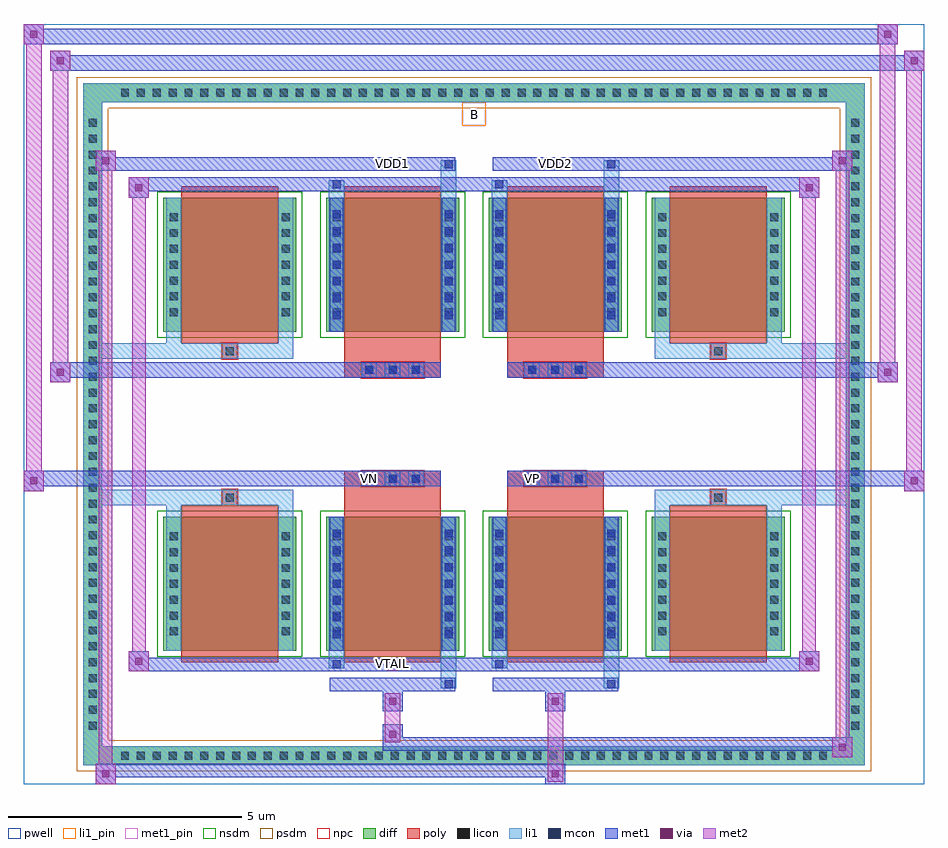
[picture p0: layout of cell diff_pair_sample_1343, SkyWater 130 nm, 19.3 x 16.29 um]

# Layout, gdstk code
import gdstk
lib = gdstk.Library(unit=1e-6, precision=5e-09)
def R(c, l, rs):  # rectangles x0, y0, x1, y1
    for r in rs: c.add(gdstk.rectangle(r[:2], r[2:], *l))
def A(c, l, x, y, w, h, nx, ny, dx, dy):  # array of equal rectangles
    R(c, l, [(x+i*dx, y+j*dy, x+i*dx+w, y+j*dy+h) for i in range(nx) for j in range(ny)])
def P(c, l, *ps):  # polygons
    for p in ps: c.add(gdstk.Polygon(p, *l))
pwell = (64, 44)
diff = (65, 20)
poly = (66, 20)
licon = (66, 44)
li1_pin = (67, 16)
li1 = (67, 20)
mcon = (67, 44)
met1_pin = (68, 16)
met1 = (68, 20)
via = (68, 44)
met2 = (69, 20)
nsdm = (93, 44)
psdm = (94, 20)
npc = (95, 20)

diff_pair_sample_1343 = lib.new_cell('diff_pair_sample_1343')
R(diff_pair_sample_1343, pwell, [(-9.65,-7.71,9.65,8.58), (-6.97,-5.9,-0.01,-0.8), (0.01,-5.9,6.97,-0.8), (-6.97,0.8,-0.01,5.9), (0.01,0.8,6.97,5.9)])
A(diff_pair_sample_1343, diff, -7.685, -7.31, 0.41, 0.41, 45, 2, 0.34, 14.21)
A(diff_pair_sample_1343, diff, -8.38, -6.665, 0.41, 0.41, 1, 39, 0, 0.34)
A(diff_pair_sample_1343, diff, 7.97, -6.665, 0.41, 0.41, 1, 39, 0, 0.34)
A(diff_pair_sample_1343, diff, -6.66, -4.855, 2.85, 2.87, 4, 2, 3.49, 6.84)
R(diff_pair_sample_1343, diff, [(-7.685,-7.31,7.685,-6.9), (-8.38,-6.665,-7.97,6.665), (7.97,-6.665,8.38,6.665), (-7.685,6.9,7.685,7.31)])
P(diff_pair_sample_1343, diff, [(8.38,7.31),(-8.38,7.31),(-8.38,-6.9),(-7.97,-6.9),(-7.97,6.9),(7.97,6.9),(7.97,-6.9),(-7.97,-6.9),(-8.38,-6.9),(-8.38,-7.31),(8.38,-7.31)])
A(diff_pair_sample_1343, poly, -6.27, -5.105, 2.07, 3.37, 4, 2, 3.49, 6.84)
A(diff_pair_sample_1343, poly, -2.41, -1.33, 0.33, 0.33, 3, 2, 0.5, 2.33)
A(diff_pair_sample_1343, poly, 1.08, -1.33, 0.33, 0.33, 3, 2, 0.5, 2.33)
R(diff_pair_sample_1343, poly, [(-5.4,-1.735,-5.07,-1.405), (-5.4,-1.735,-5.07,-1.405), (-2.78,-1.735,-0.71,-1.33), (0.71,-1.735,2.78,-1.33), (5.07,-1.735,5.4,-1.405), (5.07,-1.735,5.4,-1.405), (-2.78,-1.33,-0.71,-1), (0.71,-1.33,2.78,-1), (-2.78,1,-0.71,1.33), (0.71,1,2.78,1.33), (-2.78,1.33,-0.71,1.735), (0.71,1.33,2.78,1.735), (-5.4,1.405,-5.07,1.735), (-5.4,1.405,-5.07,1.735), (5.07,1.405,5.4,1.735), (5.07,1.405,5.4,1.735)])
A(diff_pair_sample_1343, licon, -7.565, -7.19, 0.17, 0.17, 45, 2, 0.34, 14.21)
A(diff_pair_sample_1343, licon, -8.26, -6.545, 0.17, 0.17, 1, 39, 0, 0.34)
A(diff_pair_sample_1343, licon, 8.09, -6.545, 0.17, 0.17, 1, 39, 0, 0.34)
A(diff_pair_sample_1343, licon, -6.52, -4.525, 0.17, 0.17, 1, 7, 0, 0.34)
A(diff_pair_sample_1343, licon, -4.12, -4.525, 0.17, 0.17, 1, 7, 0, 0.34)
A(diff_pair_sample_1343, licon, -3.03, -4.525, 0.17, 0.17, 1, 7, 0, 0.34)
A(diff_pair_sample_1343, licon, -0.63, -4.525, 0.17, 0.17, 1, 7, 0, 0.34)
A(diff_pair_sample_1343, licon, 0.46, -4.525, 0.17, 0.17, 1, 7, 0, 0.34)
A(diff_pair_sample_1343, licon, 2.86, -4.525, 0.17, 0.17, 1, 7, 0, 0.34)
A(diff_pair_sample_1343, licon, 3.95, -4.525, 0.17, 0.17, 1, 7, 0, 0.34)
A(diff_pair_sample_1343, licon, 6.35, -4.525, 0.17, 0.17, 1, 7, 0, 0.34)
A(diff_pair_sample_1343, licon, -2.33, -1.25, 0.17, 0.17, 3, 2, 0.5, 2.33)
A(diff_pair_sample_1343, licon, 1.16, -1.25, 0.17, 0.17, 3, 2, 0.5, 2.33)
A(diff_pair_sample_1343, licon, -6.52, 2.315, 0.17, 0.17, 1, 7, 0, 0.34)
A(diff_pair_sample_1343, licon, -4.12, 2.315, 0.17, 0.17, 1, 7, 0, 0.34)
A(diff_pair_sample_1343, licon, -3.03, 2.315, 0.17, 0.17, 1, 7, 0, 0.34)
A(diff_pair_sample_1343, licon, -0.63, 2.315, 0.17, 0.17, 1, 7, 0, 0.34)
A(diff_pair_sample_1343, licon, 0.46, 2.315, 0.17, 0.17, 1, 7, 0, 0.34)
A(diff_pair_sample_1343, licon, 2.86, 2.315, 0.17, 0.17, 1, 7, 0, 0.34)
A(diff_pair_sample_1343, licon, 3.95, 2.315, 0.17, 0.17, 1, 7, 0, 0.34)
A(diff_pair_sample_1343, licon, 6.35, 2.315, 0.17, 0.17, 1, 7, 0, 0.34)
R(diff_pair_sample_1343, licon, [(-5.32,-1.655,-5.15,-1.485), (5.15,-1.655,5.32,-1.485), (-5.32,1.485,-5.15,1.655), (5.15,1.485,5.32,1.655)])
R(diff_pair_sample_1343, li1_pin, [(-0.25,6.4,0.25,6.9)])
A(diff_pair_sample_1343, li1, -7.645, -7.27, 0.33, 0.33, 45, 2, 0.34, 14.21)
A(diff_pair_sample_1343, li1, -8.34, -6.625, 0.33, 0.33, 1, 39, 0, 0.34)
A(diff_pair_sample_1343, li1, 8.01, -6.625, 0.33, 0.33, 1, 39, 0, 0.34)
A(diff_pair_sample_1343, li1, -6.6, -4.605, 0.33, 0.33, 1, 7, 0, 0.34)
A(diff_pair_sample_1343, li1, -4.2, -4.605, 0.33, 0.33, 1, 7, 0, 0.34)
A(diff_pair_sample_1343, li1, -3.11, -4.605, 0.33, 0.33, 1, 7, 0, 0.34)
A(diff_pair_sample_1343, li1, -0.71, -4.605, 0.33, 0.33, 1, 7, 0, 0.34)
A(diff_pair_sample_1343, li1, 0.38, -4.605, 0.33, 0.33, 1, 7, 0, 0.34)
A(diff_pair_sample_1343, li1, 2.78, -4.605, 0.33, 0.33, 1, 7, 0, 0.34)
A(diff_pair_sample_1343, li1, 3.87, -4.605, 0.33, 0.33, 1, 7, 0, 0.34)
A(diff_pair_sample_1343, li1, 6.27, -4.605, 0.33, 0.33, 1, 7, 0, 0.34)
A(diff_pair_sample_1343, li1, -3.03, -4.585, 0.17, 0.17, 1, 7, 0, 0.36)
A(diff_pair_sample_1343, li1, -0.63, -4.585, 0.17, 0.17, 1, 7, 0, 0.36)
A(diff_pair_sample_1343, li1, 0.46, -4.585, 0.17, 0.17, 1, 7, 0, 0.36)
A(diff_pair_sample_1343, li1, 2.86, -4.585, 0.17, 0.17, 1, 7, 0, 0.36)
A(diff_pair_sample_1343, li1, -2.41, -1.33, 0.33, 0.33, 3, 2, 0.5, 2.33)
A(diff_pair_sample_1343, li1, 1.08, -1.33, 0.33, 0.33, 3, 2, 0.5, 2.33)
A(diff_pair_sample_1343, li1, -6.6, 2.235, 0.33, 0.33, 1, 7, 0, 0.34)
A(diff_pair_sample_1343, li1, -4.2, 2.235, 0.33, 0.33, 1, 7, 0, 0.34)
A(diff_pair_sample_1343, li1, -3.11, 2.235, 0.33, 0.33, 1, 7, 0, 0.34)
A(diff_pair_sample_1343, li1, -0.71, 2.235, 0.33, 0.33, 1, 7, 0, 0.34)
A(diff_pair_sample_1343, li1, 0.38, 2.235, 0.33, 0.33, 1, 7, 0, 0.34)
A(diff_pair_sample_1343, li1, 2.78, 2.235, 0.33, 0.33, 1, 7, 0, 0.34)
A(diff_pair_sample_1343, li1, 3.87, 2.235, 0.33, 0.33, 1, 7, 0, 0.34)
A(diff_pair_sample_1343, li1, 6.27, 2.235, 0.33, 0.33, 1, 7, 0, 0.34)
A(diff_pair_sample_1343, li1, -3.03, 2.255, 0.17, 0.17, 1, 7, 0, 0.36)
A(diff_pair_sample_1343, li1, -0.63, 2.255, 0.17, 0.17, 1, 7, 0, 0.36)
A(diff_pair_sample_1343, li1, 0.46, 2.255, 0.17, 0.17, 1, 7, 0, 0.36)
A(diff_pair_sample_1343, li1, 2.86, 2.255, 0.17, 0.17, 1, 7, 0, 0.36)
R(diff_pair_sample_1343, li1, [(-8.38,-7.31,-7.97,-6.9), (-8.38,-7.31,-7.97,-6.9), (-7.97,-7.31,7.97,-6.9), (7.97,-7.31,8.38,-6.9), (7.97,-7.31,8.38,-6.9), (-8.38,-6.9,-7.97,6.9), (7.97,-6.9,8.38,6.9), (-0.71,-5.66,-0.38,-4.855), (-0.63,-5.66,-0.46,-5.49), (2.78,-5.66,3.11,-4.855), (2.86,-5.66,3.03,-5.49), (-3.11,-5.23,-2.78,-4.855), (-3.03,-5.23,-2.86,-5.06), (0.38,-5.23,0.71,-4.855), (0.46,-5.23,0.63,-5.06), (-6.6,-4.855,-6.27,-1.985), (-4.2,-4.855,-3.87,-1.985), (-3.11,-4.855,-2.78,-1.985), (-0.71,-4.855,-0.38,-1.985), (0.38,-4.855,0.71,-1.985), (2.78,-4.855,3.11,-1.985), (3.87,-4.855,4.2,-1.985), (6.27,-4.855,6.6,-1.985), (-3.03,-4.585,-2.86,-2.255), (-0.63,-4.585,-0.46,-2.255), (0.46,-4.585,0.63,-2.255), (2.86,-4.585,3.03,-2.255), (-6.6,-1.985,-6.27,-1.405), (-4.2,-1.985,-3.87,-1.405), (3.87,-1.985,4.2,-1.405), (6.27,-1.985,6.6,-1.405), (-8.38,-1.735,-5.4,-1.405), (-6.6,-1.735,-5.4,-1.405), (-5.4,-1.735,-5.07,-1.405), (-5.07,-1.735,-3.87,-1.405), (3.87,-1.735,5.07,-1.405), (5.07,-1.735,5.4,-1.405), (5.07,-1.735,8.38,-1.405), (5.4,-1.735,6.6,-1.405), (-8.38,1.405,-5.4,1.735), (-6.6,1.405,-5.4,1.735), (-6.6,1.405,-6.27,1.985), (-5.4,1.405,-5.07,1.735), (-5.07,1.405,-3.87,1.735), (-4.2,1.405,-3.87,1.985), (3.87,1.405,5.07,1.735), (3.87,1.405,4.2,1.985), (5.07,1.405,5.4,1.735), (5.07,1.405,8.38,1.735), (5.4,1.405,6.6,1.735), (6.27,1.405,6.6,1.985), (-6.6,1.985,-6.27,4.855), (-4.2,1.985,-3.87,4.855), (-3.11,1.985,-2.78,4.855), (-0.71,1.985,-0.38,4.855), (0.38,1.985,0.71,4.855), (2.78,1.985,3.11,4.855), (3.87,1.985,4.2,4.855), (6.27,1.985,6.6,4.855), (-3.03,2.255,-2.86,4.585), (-0.63,2.255,-0.46,4.585), (0.46,2.255,0.63,4.585), (2.86,2.255,3.03,4.585), (-3.11,4.855,-2.78,5.23), (-0.71,4.855,-0.38,5.66), (0.38,4.855,0.71,5.23), (2.78,4.855,3.11,5.66), (-3.03,5.06,-2.86,5.23), (0.46,5.06,0.63,5.23), (-0.63,5.49,-0.46,5.66), (2.86,5.49,3.03,5.66), (-8.38,6.9,-7.97,7.31), (-8.38,6.9,-7.97,7.31), (-7.97,6.9,7.97,7.31), (7.97,6.9,8.38,7.31), (7.97,6.9,8.38,7.31)])
A(diff_pair_sample_1343, mcon, -3.03, -4.585, 0.17, 0.17, 1, 7, 0, 0.36)
A(diff_pair_sample_1343, mcon, -0.63, -4.585, 0.17, 0.17, 1, 7, 0, 0.36)
A(diff_pair_sample_1343, mcon, 0.46, -4.585, 0.17, 0.17, 1, 7, 0, 0.36)
A(diff_pair_sample_1343, mcon, 2.86, -4.585, 0.17, 0.17, 1, 7, 0, 0.36)
A(diff_pair_sample_1343, mcon, -2.33, -1.25, 0.17, 0.17, 3, 2, 0.5, 2.33)
A(diff_pair_sample_1343, mcon, 1.16, -1.25, 0.17, 0.17, 3, 2, 0.5, 2.33)
A(diff_pair_sample_1343, mcon, -3.03, 2.255, 0.17, 0.17, 1, 7, 0, 0.36)
A(diff_pair_sample_1343, mcon, -0.63, 2.255, 0.17, 0.17, 1, 7, 0, 0.36)
A(diff_pair_sample_1343, mcon, 0.46, 2.255, 0.17, 0.17, 1, 7, 0, 0.36)
A(diff_pair_sample_1343, mcon, 2.86, 2.255, 0.17, 0.17, 1, 7, 0, 0.36)
R(diff_pair_sample_1343, mcon, [(-0.63,-5.66,-0.46,-5.49), (2.86,-5.66,3.03,-5.49), (-3.03,-5.23,-2.86,-5.06), (0.46,-5.23,0.63,-5.06), (-3.03,5.06,-2.86,5.23), (0.46,5.06,0.63,5.23), (-0.63,5.49,-0.46,5.66), (2.86,5.49,3.03,5.66)])
R(diff_pair_sample_1343, met1_pin, [(-1.88,-5.27,-1.61,-5), (-2.38,-1.29,-2.11,-1.02), (1.11,-1.29,1.38,-1.02), (-1.88,5.45,-1.61,5.72), (1.61,5.45,1.88,5.72)])
A(diff_pair_sample_1343, met1, -3.09, -4.645, 0.29, 0.29, 1, 7, 0, 0.36)
A(diff_pair_sample_1343, met1, -0.69, -4.645, 0.29, 0.29, 1, 7, 0, 0.36)
A(diff_pair_sample_1343, met1, 0.4, -4.645, 0.29, 0.29, 1, 7, 0, 0.36)
A(diff_pair_sample_1343, met1, 2.8, -4.645, 0.29, 0.29, 1, 7, 0, 0.36)
A(diff_pair_sample_1343, met1, -2.39, -1.31, 0.29, 0.29, 3, 2, 0.5, 2.33)
A(diff_pair_sample_1343, met1, 1.1, -1.31, 0.29, 0.29, 3, 2, 0.5, 2.33)
A(diff_pair_sample_1343, met1, -3.09, 2.195, 0.29, 0.29, 1, 7, 0, 0.36)
A(diff_pair_sample_1343, met1, -0.69, 2.195, 0.29, 0.29, 1, 7, 0, 0.36)
A(diff_pair_sample_1343, met1, 0.4, 2.195, 0.29, 0.29, 1, 7, 0, 0.36)
A(diff_pair_sample_1343, met1, 2.8, 2.195, 0.29, 0.29, 1, 7, 0, 0.36)
R(diff_pair_sample_1343, met1, [(-8.11,-7.71,-7.68,-7.28), (1.53,-7.71,1.96,-7.28), (-8.11,-7.57,1.96,-7.28), (7.68,-7.14,8.11,-6.71), (-1.96,-7,8.11,-6.71), (-1.96,-6.86,-1.53,-6.43), (-1.96,-6.15,-1.53,-5.72), (1.53,-6.15,1.96,-5.72), (-3.09,-5.72,-0.4,-5.43), (-0.69,-5.72,-0.4,-5.43), (0.4,-5.72,3.09,-5.43), (2.8,-5.72,3.09,-5.43), (-7.4,-5.29,-6.97,-4.86), (-7.4,-5.29,-3.09,-5), (-3.09,-5.29,-2.8,-5), (-3.09,-5.29,-0.4,-5), (-0.4,-5.29,0.4,-5), (0.4,-5.29,0.69,-5), (0.4,-5.29,3.09,-5), (3.09,-5.29,7.4,-5), (6.97,-5.29,7.4,-4.86), (-3.09,-4.855,-2.8,-1.985), (-0.69,-4.855,-0.4,-1.985), (0.4,-4.855,0.69,-1.985), (2.8,-4.855,3.09,-1.985), (-9.65,-1.43,-9.22,-1), (9.22,-1.43,9.65,-1), (-9.65,-1.33,-0.71,-1), (-2.78,-1.33,-0.71,-1), (0.71,-1.33,2.78,-1), (0.71,-1.33,9.65,-1), (-9.08,0.9,-8.65,1.33), (8.65,0.9,9.08,1.33), (-9.08,1,-2.78,1.33), (-2.78,1,-0.71,1.33), (0.71,1,2.78,1.33), (2.78,1,9.08,1.33), (-3.09,1.985,-2.8,4.855), (-0.69,1.985,-0.4,4.855), (0.4,1.985,0.69,4.855), (2.8,1.985,3.09,4.855), (-7.4,4.86,-6.97,5.29), (6.97,4.86,7.4,5.29), (-7.4,5,-3.09,5.29), (-3.09,5,-2.8,5.29), (-3.09,5,-0.4,5.29), (-0.4,5,0.4,5.29), (0.4,5,0.69,5.29), (0.4,5,3.09,5.29), (3.09,5,7.4,5.29), (-8.11,5.43,-7.68,5.86), (-8.11,5.43,-3.09,5.72), (-3.09,5.43,-0.4,5.72), (-0.69,5.43,-0.4,5.72), (0.4,5.43,3.09,5.72), (2.8,5.43,3.09,5.72), (3.09,5.43,8.11,5.72), (7.68,5.43,8.11,5.86), (-9.08,7.58,-8.65,8.01), (-9.08,7.58,-6.97,7.91), (-6.97,7.58,6.97,7.91), (6.97,7.58,9.65,7.91), (9.22,7.58,9.65,8.01), (-9.65,8.15,-9.22,8.58), (-9.65,8.15,-6.97,8.48), (-6.97,8.15,6.97,8.48), (6.97,8.15,9.08,8.48), (8.65,8.15,9.08,8.58)])
R(diff_pair_sample_1343, via, [(-7.97,-7.57,-7.82,-7.42), (1.67,-7.57,1.82,-7.42), (7.82,-7,7.97,-6.85), (-1.82,-6.72,-1.67,-6.57), (-1.82,-6.01,-1.67,-5.86), (1.67,-6.01,1.82,-5.86), (-7.26,-5.15,-7.11,-5), (7.11,-5.15,7.26,-5), (-9.51,-1.29,-9.36,-1.14), (9.36,-1.29,9.51,-1.14), (-8.94,1.04,-8.79,1.19), (8.79,1.04,8.94,1.19), (-7.26,5,-7.11,5.15), (7.11,5,7.26,5.15), (-7.97,5.57,-7.82,5.72), (7.82,5.57,7.97,5.72), (-8.94,7.72,-8.79,7.87), (9.36,7.72,9.51,7.87), (-9.51,8.29,-9.36,8.44), (8.79,8.29,8.94,8.44)])
R(diff_pair_sample_1343, met2, [(-8.11,-7.71,-7.68,-7.28), (-8.04,-7.71,-7.75,5.86), (-7.75,-7.71,-7.68,-7.28), (-8.06,-7.66,-7.73,-7.33), (1.58,-7.66,1.91,-7.33), (1.58,-7.33,1.91,-6.1), (7.68,-7.14,8.11,-6.71), (7.75,-7.14,8.04,5.86), (8.04,-7.14,8.11,-6.71), (7.73,-7.09,8.06,-6.76), (-1.91,-6.81,-1.58,-6.48), (-1.91,-6.48,-1.58,-6.1), (-1.91,-6.1,-1.58,-5.77), (1.58,-6.1,1.91,-5.77), (-7.4,-5.29,-6.97,-4.86), (-7.33,-5.29,-7.04,5.29), (-7.04,-5.29,-6.97,-4.86), (6.97,-5.29,7.4,-4.86), (7.04,-5.29,7.33,5.29), (7.33,-5.29,7.4,-4.86), (-7.35,-5.24,-7.02,-4.91), (7.02,-5.24,7.35,-4.91), (-9.65,-1.43,-9.22,-1), (-9.6,-1.43,-9.27,8.58), (-9.27,-1.43,-9.22,-1), (9.22,-1.43,9.65,-1), (9.27,-1.43,9.6,8.01), (9.6,-1.43,9.65,-1), (-9.6,-1.38,-9.27,-1.05), (9.27,-1.38,9.6,-1.05), (-9.08,0.9,-8.65,1.33), (-9.03,0.9,-8.7,8.01), (-8.7,0.9,-8.65,1.33), (8.65,0.9,9.08,1.33), (8.7,0.9,9.03,8.58), (9.03,0.9,9.08,1.33), (-9.03,0.95,-8.7,1.28), (8.7,0.95,9.03,1.28), (-7.4,4.86,-6.97,5.29), (-7.04,4.86,-6.97,5.29), (6.97,4.86,7.4,5.29), (7.33,4.86,7.4,5.29), (-7.35,4.91,-7.02,5.24), (7.02,4.91,7.35,5.24), (-8.11,5.43,-7.68,5.86), (-7.75,5.43,-7.68,5.86), (7.68,5.43,8.11,5.86), (8.04,5.43,8.11,5.86), (-8.06,5.48,-7.73,5.81), (7.73,5.48,8.06,5.81), (-9.08,7.58,-8.65,8.01), (-8.7,7.58,-8.65,8.01), (9.22,7.58,9.65,8.01), (9.6,7.58,9.65,8.01), (-9.03,7.63,-8.7,7.96), (9.27,7.63,9.6,7.96), (-9.65,8.15,-9.22,8.58), (-9.27,8.15,-9.22,8.58), (8.65,8.15,9.08,8.58), (9.03,8.15,9.08,8.58), (-9.6,8.2,-9.27,8.53), (8.7,8.2,9.03,8.53)])
A(diff_pair_sample_1343, nsdm, -6.79, -4.985, 3.11, 3.13, 4, 2, 3.49, 6.84)
P(diff_pair_sample_1343, psdm, [(8.51,7.44),(-8.51,7.44),(-8.51,-6.77),(-7.84,-6.77),(-7.84,6.77),(7.84,6.77),(7.84,-6.77),(-7.84,-6.77),(-8.51,-6.77),(-8.51,-7.44),(8.51,-7.44)])
A(diff_pair_sample_1343, npc, -2.43, -1.35, 0.37, 0.37, 3, 2, 0.5, 2.33)
A(diff_pair_sample_1343, npc, 1.06, -1.35, 0.37, 0.37, 3, 2, 0.5, 2.33)
R(diff_pair_sample_1343, npc, [(-5.42,-1.755,-5.05,-1.385), (5.05,-1.755,5.42,-1.385), (-2.43,-1.35,-1.56,-0.98), (-2.43,-1.35,-1.56,-0.98), (-1.93,-1.35,-1.06,-0.98), (-1.93,-1.35,-1.06,-0.98), (1.06,-1.35,1.93,-0.98), (1.06,-1.35,1.93,-0.98), (1.56,-1.35,2.43,-0.98), (1.56,-1.35,2.43,-0.98), (-2.43,0.98,-1.56,1.35), (-2.43,0.98,-1.56,1.35), (-1.93,0.98,-1.06,1.35), (-1.93,0.98,-1.06,1.35), (1.06,0.98,1.93,1.35), (1.06,0.98,1.93,1.35), (1.56,0.98,2.43,1.35), (1.56,0.98,2.43,1.35), (-5.42,1.385,-5.05,1.755), (5.05,1.385,5.42,1.755)])
diff_pair_sample_1343.add(gdstk.Label('VTAIL', (-1.745,-5.135), layer=68, texttype=5))
diff_pair_sample_1343.add(gdstk.Label('VN', (-2.245,-1.155), layer=68, texttype=5))
diff_pair_sample_1343.add(gdstk.Label('VP', (1.245,-1.155), layer=68, texttype=5))
diff_pair_sample_1343.add(gdstk.Label('B', (0,6.65), layer=67, texttype=5))
diff_pair_sample_1343.add(gdstk.Label('VDD2', (1.745,5.585), layer=68, texttype=5))
diff_pair_sample_1343.add(gdstk.Label('VDD1', (-1.745,5.585), layer=68, texttype=5))

lib.write_gds('diff_pair_sample_1343.gds')
